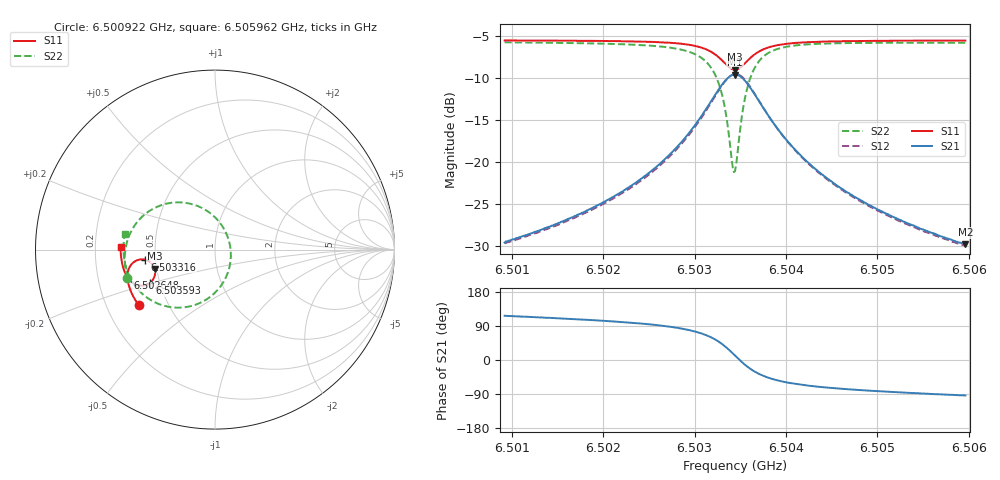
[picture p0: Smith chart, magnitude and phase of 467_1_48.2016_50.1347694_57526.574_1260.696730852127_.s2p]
#  HZ  S  RI  R  50.00
! Rohde & Schwarz Vector Network Analyzer
! Rohde-Schwarz,ZNB20-2Port,1311601062101988,3.16
! Created: UTC 3/20/2024, 11:56:59 AM
! freq[Hz]  re:S11  im:S11  re:S21  im:S21  re:S12  im:S12  re:S22  im:S22
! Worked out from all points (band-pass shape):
!   401 points, 6.500922 GHz to 6.505962 GHz, reference 50 ohm
!   highest |S21| = -9.62 dB at 6.503442 GHz (marker M1); lowest = -29.8 dB at 6.505962 GHz (marker M2)
!   |S21| within 3 dB of the highest: 6.503191 GHz to 6.503694 GHz (503.9 kHz wide, 0.00775 % of centre)
!   lowest |S11| = -9.0 dB at 6.503442 GHz (marker M3), VSWR 2.09, Z = 24.3 - j5.87 ohm
!   |S11| at or under -10 dB: nowhere
!   |S22| runs from -21.2 to -5.8 dB; largest |S21 - S12| = 0.012
!   S11 on the Smith chart (normalised r, x): 6.500922 GHz: 0.34, -0.29; 6.502648 GHz: 0.33, -0.14; 6.503316 GHz: 0.44, -0.06; 6.503593 GHz: 0.44, -0.20; 6.505962 GHz: 0.31, +0.01
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6.5009216e9  -0.4257 -0.3098  -0.0149 0.0297  -0.0131 0.0301  -0.4885 -0.1577
6.5017659e9  -0.4619 -0.2476  -0.0143 0.0477  -0.0118 0.0472  -0.5024 -0.0686
6.5022321e9  -0.4784 -0.2063  -0.0114 0.0671  -0.00826 0.0659  -0.4995 -0.00278
6.5026102e9  -0.4873 -0.1646  -0.00257 0.0964  0.00133 0.0942  -0.4803 0.0725
6.502648e9  -0.4877 -0.1598  -0.000715 0.1004  0.00314 0.098  -0.4764 0.082
6.5029252e9  -0.4838 -0.117  0.0259 0.1429  0.0299 0.1385  -0.4213 0.1678
6.5031143e9  -0.4626 -0.0788  0.08 0.1852  0.0828 0.179  -0.3181 0.2405
6.5032277e9  -0.4299 -0.058  0.1489 0.2028  0.1501 0.1962  -0.1938 0.2631
6.5033159e9  -0.3893 -0.0563  0.2286 0.1869  0.2293 0.1814  -0.0564 0.2232
6.5033537e9  -0.3699 -0.064  0.265 0.1638  0.2663 0.1589  0.00391 0.1763
6.5034167e9  -0.343 -0.0908  0.3132 0.1  0.3161 0.0944  0.0767 0.0531
6.5034419e9  -0.3368 -0.1055  0.3235 0.0675  0.327 0.0611  0.0878 -0.00712
6.5034671e9  -0.3336 -0.1213  0.3273 0.0338  0.3309 0.0262  0.0859 -0.0689
6.5035301e9  -0.3408 -0.1588  0.3092 -0.0447  0.3113 -0.0553  0.0307 -0.2052
6.5035931e9  -0.3622 -0.185  0.2661 -0.0992  0.2648 -0.1111  -0.0666 -0.2886
6.503694e9  -0.4019 -0.2003  0.1909 -0.1357  0.1854 -0.1455  -0.2175 -0.3232
6.5038578e9  -0.4483 -0.1908  0.1088 -0.1326  0.1016 -0.1378  -0.3654 -0.2765
6.5040342e9  -0.4756 -0.1693  0.064 -0.1124  0.0577 -0.1148  -0.4377 -0.2115
6.5042862e9  -0.4965 -0.1393  0.034 -0.0878  0.0291 -0.0886  -0.4813 -0.1393
6.5046643e9  -0.512 -0.0999  0.0149 -0.0646  0.0115 -0.0643  -0.5038 -0.0644
6.5051306e9  -0.5212 -0.0568  0.00505 -0.0479  0.00271 -0.0474  -0.51 0.0015
6.5059623e9  -0.526 0.0136  -0.00203 -0.0322  -0.00342 -0.0314  -0.5023 0.0892
